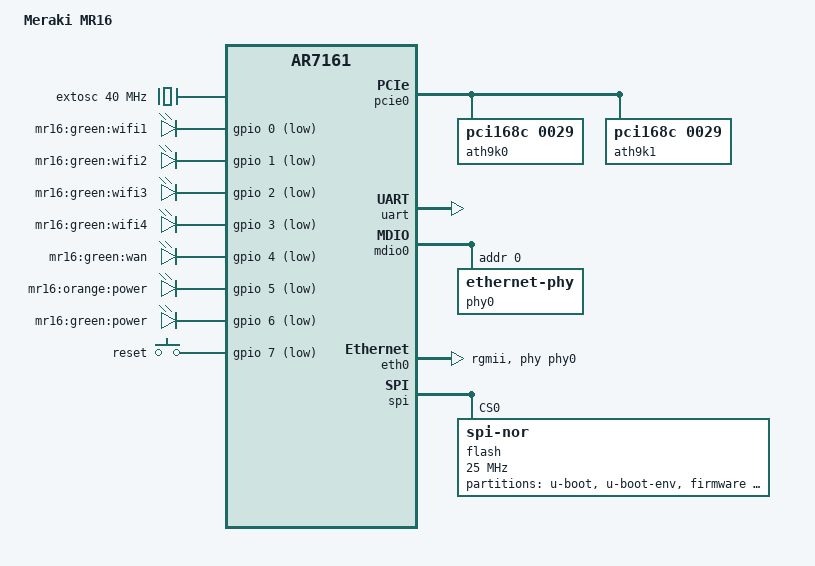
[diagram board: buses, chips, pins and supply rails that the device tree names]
// SPDX-License-Identifier: GPL-2.0-or-later OR MIT
/dts-v1/;

#include <dt-bindings/gpio/gpio.h>
#include <dt-bindings/input/input.h>

#include "ar7100.dtsi"

/ {
	compatible = "meraki,mr16", "qca,ar7161";
	model = "Meraki MR16";

	chosen {
		bootargs = "console=ttyS0,115200";
	};

	aliases {
		led-boot = &power_green;
		led-failsafe = &power_orange;
		led-running = &power_green;
		led-upgrade = &power_green;
	};

	extosc: ref {
		compatible = "fixed-clock";
		#clock-cells = <0>;
		clock-output-names = "ref";
		clock-frequency = <40000000>;
	};

	leds {
		compatible = "gpio-leds";

		wifi1 {
			label = "mr16:green:wifi1";
			gpios = <&gpio 0 GPIO_ACTIVE_LOW>;
		};

		wifi2 {
			label = "mr16:green:wifi2";
			gpios = <&gpio 1 GPIO_ACTIVE_LOW>;
		};

		wifi3 {
			label = "mr16:green:wifi3";
			gpios = <&gpio 2 GPIO_ACTIVE_LOW>;
		};

		wifi4 {
			label = "mr16:green:wifi4";
			gpios = <&gpio 3 GPIO_ACTIVE_LOW>;
		};

		wan {
			label = "mr16:green:wan";
			gpios = <&gpio 4 GPIO_ACTIVE_LOW>;
		};

		power_orange: power_orange {
			label = "mr16:orange:power";
			gpios = <&gpio 5 GPIO_ACTIVE_LOW>;
			panic-indicator;
		};

		power_green: power_green {
			label = "mr16:green:power";
			gpios = <&gpio 6 GPIO_ACTIVE_LOW>;
		};
	};

	keys {
		compatible = "gpio-keys";

		reset {
			label = "reset";
			linux,code = <KEY_RESTART>;
			gpios = <&gpio 7 GPIO_ACTIVE_LOW>;
		};
	};
};

&pcie0 {
	status = "okay";

	ath9k0: wifi@0,11 { /* 2.4 GHz */
		compatible = "pci168c,0029";
		reg = <0x8800 0 0 0 0>;
		qca,no-eeprom;
		mtd-mac-address = <&mac 0x0>;
		mtd-mac-address-increment = <1>;
		#gpio-cells = <2>;
		gpio-controller;
	};

	ath9k1: wifi@0,12 { /* 5 GHz */
		compatible = "pci168c,0029";
		reg = <0x9000 0 0 0 0>;
		qca,no-eeprom;
		mtd-mac-address = <&mac 0x0>;
		mtd-mac-address-increment = <2>;
		#gpio-cells = <2>;
		gpio-controller;
	};
};

&pll {
	clocks = <&extosc>;
};

&uart {
	status = "okay";
};

&mdio0 {
	status = "okay";

	phy-mask = <0x1>;

	phy0: ethernet-phy@0 {
		reg = <0>;
	};
};

&eth0 {
	status = "okay";
	mtd-mac-address = <&mac 0x0>;

	pll-data = <0x00110000 0x00001099 0x00991099>;

	phy-mode = "rgmii";
	phy-handle = <&phy0>;
};

&spi {
	status = "okay";
	num-cs = <1>;

	flash@0 {
		compatible = "jedec,spi-nor";
		reg = <0>;
		spi-max-frequency = <25000000>;

		partitions {
			compatible = "fixed-partitions";
			#address-cells = <1>;
			#size-cells = <1>;

			partition@0 {
				label = "u-boot";
				reg = <0x000000 0x40000>;
				read-only;
			};

			partition@40000 {
				label = "u-boot-env";
				reg = <0x40000 0x40000>;
				read-only;
			};

			partition@80000 {
				label = "firmware";
				reg = <0x80000 0xf50000>;
				compatible = "denx,uimage";
			};

			mac: partition@fd0000 {
				label = "mac";
				reg = <0xfd0000 0x10000>;
			};

			art: partition@fe0000 {
				label = "art";
				reg = <0xfe0000 0x20000>;
				read-only;
			};
		};
	};
};
